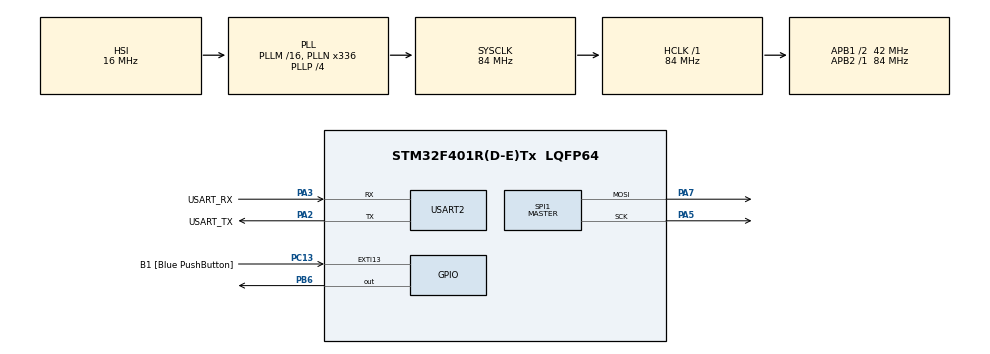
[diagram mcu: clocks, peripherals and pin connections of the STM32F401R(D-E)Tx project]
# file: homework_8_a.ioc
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Mcu.Family=STM32F4
Mcu.Name=STM32F401R(D-E)Tx
Mcu.Package=LQFP64
NVIC.PriorityGroup=NVIC_PRIORITYGROUP_0
NVIC.TIM1_UP_TIM10_IRQn=true\:0\:0\:false\:false\:true\:true\:true\:true
PA13.GPIO_Label=TMS
PA13.Mode=Serial_Wire
PA13.Signal=SYS_JTMS-SWDIO
PA14.GPIO_Label=TCK
PA14.Mode=Serial_Wire
PA14.Signal=SYS_JTCK-SWCLK
PA2.GPIO_Label=USART_TX
PA2.GPIO_Mode=GPIO_MODE_AF_PP
PA2.GPIO_PuPd=GPIO_NOPULL
PA2.GPIO_Speed=GPIO_SPEED_FREQ_LOW
PA2.Mode=Asynchronous
PA2.Signal=USART2_TX
PA3.GPIO_Label=USART_RX
PA3.GPIO_Mode=GPIO_MODE_AF_PP
PA3.GPIO_PuPd=GPIO_NOPULL
PA3.GPIO_Speed=GPIO_SPEED_FREQ_LOW
PA3.Mode=Asynchronous
PA3.Signal=USART2_RX
PA5.Mode=TX_Only_Simplex_Unidirect_Master
PA5.Signal=SPI1_SCK
PA7.Mode=TX_Only_Simplex_Unidirect_Master
PA7.Signal=SPI1_MOSI
PB3.GPIO_Label=SWO
PB3.Signal=SYS_JTDO-SWO
PB6.Signal=GPIO_Output
PC13-ANTI_TAMP.GPIO_Label=B1 [Blue PushButton]
PC13-ANTI_TAMP.GPIO_ModeDefaultEXTI=GPIO_MODE_IT_FALLING
PC13-ANTI_TAMP.GPIO_PuPd=GPIO_NOPULL
PC13-ANTI_TAMP.Signal=GPXTI13
PC14-OSC32_IN.Mode=LSE-External-Oscillator
PC14-OSC32_IN.Signal=RCC_OSC32_IN
PC15-OSC32_OUT.Mode=LSE-External-Oscillator
PC15-OSC32_OUT.Signal=RCC_OSC32_OUT
PH0\ -\ OSC_IN.Mode=HSE-External-Clock-Source
PH0\ -\ OSC_IN.Signal=RCC_OSC_IN
PH1\ -\ OSC_OUT.Mode=HSE-External-Clock-Source
PH1\ -\ OSC_OUT.Signal=RCC_OSC_OUT
ProjectManager.HeapSize=0x200
ProjectManager.StackSize=0x400
ProjectManager.TargetToolchain=STM32CubeIDE
RCC.48MHZClocksFreq_Value=48000000
RCC.AHBFreq_Value=84000000
RCC.APB1CLKDivider=RCC_HCLK_DIV2
RCC.APB1Freq_Value=42000000
RCC.APB1TimFreq_Value=84000000
RCC.APB2Freq_Value=84000000
RCC.APB2TimFreq_Value=84000000
RCC.CortexFreq_Value=84000000
RCC.HCLKFreq_Value=84000000
RCC.HSE_VALUE=8000000
RCC.HSI_VALUE=16000000
RCC.PLLN=336
RCC.PLLP=RCC_PLLP_DIV4
RCC.PLLQ=7
RCC.SYSCLKFreq_VALUE=84000000
RCC.SYSCLKSource=RCC_SYSCLKSOURCE_PLLCLK
RCC.VCOOutputFreq_Value=336000000
SPI1.BaudRatePrescaler=SPI_BAUDRATEPRESCALER_4
SPI1.Direction=SPI_DIRECTION_2LINES
SPI1.Mode=SPI_MODE_MASTER
SPI1.VirtualType=VM_MASTER
TIM10.Period=55999
TIM10.Prescaler=5
USART2.VirtualMode=VM_ASYNC
VP_TIM10_VS_ClockSourceINT.Mode=Enable_Timer
board=NUCLEO-F401RE

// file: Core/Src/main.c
/* USER CODE BEGIN Header */
/**
  ******************************************************************************
  * @file           : main.c
  * @brief          : Main program body
  ******************************************************************************
  * @attention
  *
  * Copyright (c) 2022 STMicroelectronics.
  * All rights reserved.
  *
  * This software is licensed under terms that can be found in the LICENSE file
  * in the root directory of this software component.
  * If no LICENSE file comes with this software, it is provided AS-IS.
  *
  ******************************************************************************
  */
/* USER CODE END Header */
#include "main.h"

SPI_HandleTypeDef hspi1;

TIM_HandleTypeDef htim10;

UART_HandleTypeDef huart2;

void SystemClock_Config(void);
static void MX_GPIO_Init(void);
static void MX_USART2_UART_Init(void);
static void MX_SPI1_Init(void);
static void MX_TIM10_Init(void);

/* USER CODE BEGIN 0 */
// Output pin for the SS
#define RCLK_PIN GPIOB, GPIO_PIN_6

// Index, showing which coloumn in the LED to light up
uint8_t index = 0;
// Making sure that the letter S can be lighten up by the index
uint8_t matrix[5][2] = {{50, 16},
						{73, 8},
						{73, 4},
						{69, 2},
						{34, 1}
};

// Timer interrupt for every 4 ms
void HAL_TIM_PeriodElapsedCallback(TIM_HandleTypeDef* calling_timer){
	if(calling_timer == &htim10) {
		// Transmit the column, which should be lighten up
		HAL_SPI_Transmit(&hspi1, matrix[index], 2, 10);
		// Setting the SS pin
		HAL_GPIO_WritePin(RCLK_PIN, GPIO_PIN_SET);
		// Increment the index
		index++;
		// Resetting index for index higher than 4
		if(index > 4){
			index = 0;
		}
		// Resetting the SS pin
		HAL_GPIO_WritePin(RCLK_PIN, GPIO_PIN_RESET);
	}
}
/* USER CODE END 0 */

int main(void)
{

  /* MCU Configuration--------------------------------------------------------*/

  /* Reset of all peripherals, Initializes the Flash interface and the Systick. */
  HAL_Init();

  /* Configure the system clock */
  SystemClock_Config();

  /* Initialize all configured peripherals */
  MX_GPIO_Init();
  MX_USART2_UART_Init();
  MX_SPI1_Init();
  MX_TIM10_Init();
  /* USER CODE BEGIN 2 */
  HAL_TIM_Base_Start_IT(&htim10);
  /* USER CODE END 2 */

  /* Infinite loop */
  while (1)
  {

  }
}

void SystemClock_Config(void)
{
  RCC_OscInitTypeDef RCC_OscInitStruct = {0};
  RCC_ClkInitTypeDef RCC_ClkInitStruct = {0};

  /** Configure the main internal regulator output voltage
  */
  __HAL_RCC_PWR_CLK_ENABLE();
  __HAL_PWR_VOLTAGESCALING_CONFIG(PWR_REGULATOR_VOLTAGE_SCALE2);

  /** Initializes the RCC Oscillators according to the specified parameters
  * in the RCC_OscInitTypeDef structure.
  */
  RCC_OscInitStruct.OscillatorType = RCC_OSCILLATORTYPE_HSI;
  RCC_OscInitStruct.HSIState = RCC_HSI_ON;
  RCC_OscInitStruct.HSICalibrationValue = RCC_HSICALIBRATION_DEFAULT;
  RCC_OscInitStruct.PLL.PLLState = RCC_PLL_ON;
  RCC_OscInitStruct.PLL.PLLSource = RCC_PLLSOURCE_HSI;
  RCC_OscInitStruct.PLL.PLLM = 16;
  RCC_OscInitStruct.PLL.PLLN = 336;
  RCC_OscInitStruct.PLL.PLLP = RCC_PLLP_DIV4;
  RCC_OscInitStruct.PLL.PLLQ = 7;
  if (HAL_RCC_OscConfig(&RCC_OscInitStruct) != HAL_OK)
  {
    Error_Handler();
  }

  /** Initializes the CPU, AHB and APB buses clocks
  */
  RCC_ClkInitStruct.ClockType = RCC_CLOCKTYPE_HCLK|RCC_CLOCKTYPE_SYSCLK
                              |RCC_CLOCKTYPE_PCLK1|RCC_CLOCKTYPE_PCLK2;
  RCC_ClkInitStruct.SYSCLKSource = RCC_SYSCLKSOURCE_PLLCLK;
  RCC_ClkInitStruct.AHBCLKDivider = RCC_SYSCLK_DIV1;
  RCC_ClkInitStruct.APB1CLKDivider = RCC_HCLK_DIV2;
  RCC_ClkInitStruct.APB2CLKDivider = RCC_HCLK_DIV1;

  if (HAL_RCC_ClockConfig(&RCC_ClkInitStruct, FLASH_LATENCY_2) != HAL_OK)
  {
    Error_Handler();
  }
}

static void MX_SPI1_Init(void)
{

  /* SPI1 parameter configuration*/
  hspi1.Instance = SPI1;
  hspi1.Init.Mode = SPI_MODE_MASTER;
  hspi1.Init.Direction = SPI_DIRECTION_2LINES;
  hspi1.Init.DataSize = SPI_DATASIZE_8BIT;
  hspi1.Init.CLKPolarity = SPI_POLARITY_LOW;
  hspi1.Init.CLKPhase = SPI_PHASE_1EDGE;
  hspi1.Init.NSS = SPI_NSS_SOFT;
  hspi1.Init.BaudRatePrescaler = SPI_BAUDRATEPRESCALER_4;
  hspi1.Init.FirstBit = SPI_FIRSTBIT_MSB;
  hspi1.Init.TIMode = SPI_TIMODE_DISABLE;
  hspi1.Init.CRCCalculation = SPI_CRCCALCULATION_DISABLE;
  hspi1.Init.CRCPolynomial = 10;
  if (HAL_SPI_Init(&hspi1) != HAL_OK)
  {
    Error_Handler();
  }

}

static void MX_TIM10_Init(void)
{

  htim10.Instance = TIM10;
  htim10.Init.Prescaler = 5;
  htim10.Init.CounterMode = TIM_COUNTERMODE_UP;
  htim10.Init.Period = 55999;
  htim10.Init.ClockDivision = TIM_CLOCKDIVISION_DIV1;
  htim10.Init.AutoReloadPreload = TIM_AUTORELOAD_PRELOAD_DISABLE;
  if (HAL_TIM_Base_Init(&htim10) != HAL_OK)
  {
    Error_Handler();
  }

}

static void MX_USART2_UART_Init(void)
{

  huart2.Instance = USART2;
  huart2.Init.BaudRate = 115200;
  huart2.Init.WordLength = UART_WORDLENGTH_8B;
  huart2.Init.StopBits = UART_STOPBITS_1;
  huart2.Init.Parity = UART_PARITY_NONE;
  huart2.Init.Mode = UART_MODE_TX_RX;
  huart2.Init.HwFlowCtl = UART_HWCONTROL_NONE;
  huart2.Init.OverSampling = UART_OVERSAMPLING_16;
  if (HAL_UART_Init(&huart2) != HAL_OK)
  {
    Error_Handler();
  }

}

static void MX_GPIO_Init(void)
{
  GPIO_InitTypeDef GPIO_InitStruct = {0};

  /* GPIO Ports Clock Enable */
  __HAL_RCC_GPIOC_CLK_ENABLE();
  __HAL_RCC_GPIOH_CLK_ENABLE();
  __HAL_RCC_GPIOA_CLK_ENABLE();
  __HAL_RCC_GPIOB_CLK_ENABLE();

  /*Configure GPIO pin Output Level */
  HAL_GPIO_WritePin(GPIOB, GPIO_PIN_6, GPIO_PIN_RESET);

  /*Configure GPIO pin : B1_Pin */
  GPIO_InitStruct.Pin = B1_Pin;
  GPIO_InitStruct.Mode = GPIO_MODE_IT_FALLING;
  GPIO_InitStruct.Pull = GPIO_NOPULL;
  HAL_GPIO_Init(B1_GPIO_Port, &GPIO_InitStruct);

  /*Configure GPIO pin : PB6 */
  GPIO_InitStruct.Pin = GPIO_PIN_6;
  GPIO_InitStruct.Mode = GPIO_MODE_OUTPUT_PP;
  GPIO_InitStruct.Pull = GPIO_NOPULL;
  GPIO_InitStruct.Speed = GPIO_SPEED_FREQ_LOW;
  HAL_GPIO_Init(GPIOB, &GPIO_InitStruct);

}

void Error_Handler(void)
{
  __disable_irq();
  while (1)
  {
  }
}
